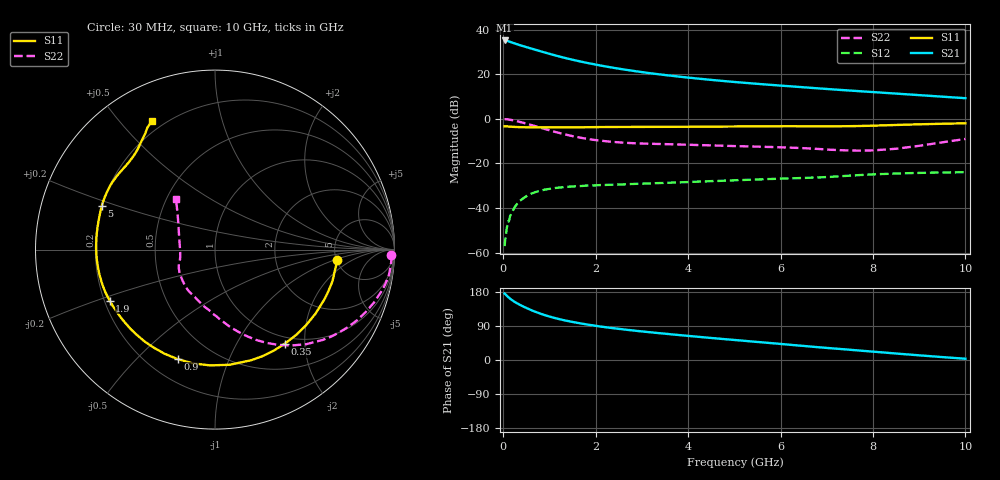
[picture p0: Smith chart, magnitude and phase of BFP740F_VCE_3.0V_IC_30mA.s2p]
! Infineon Technologies  Discrete & RF Semiconductors
! BFP740F
! VCE =  3.0 V,  IC =  30 mA
! Common Emitter S-Parameters:  Oct 2012
# GHz  S  MA  R  50
!  f  S11  S21  S12  S22
! GHz  MAG  ANG  MAG  ANG  MAG  ANG  MAG  ANG
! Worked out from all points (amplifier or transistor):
!   99 points, 30 MHz to 10 GHz, reference 50 ohm
!   highest |S21| = 35.2 dB at 30 MHz (marker M1)
!   |S21| within 3 dB of that: start of sweep to 504.2 MHz
!   unconditionally stable (mu >= 1): 5.337 GHz to end of sweep
!   at 350 MHz: K = 0.19, MSG = 35.0 dB, |S12| = -37.0 dB
!   at 3.5 GHz: K = 0.78, MSG = 24.2 dB, |S12| = -28.7 dB
!   at 10 GHz: K = 1.17, MAG = 14.1 dB, |S12| = -23.9 dB
!   S11 on the Smith chart (normalised r, x): 30 MHz: 5.01, -1.11; 350 MHz: 0.88, -1.62; 900 MHz: 0.32, -0.67; 1.9 GHz: 0.22, -0.22; 5 GHz: 0.20, +0.18; 10 GHz: 0.16, +0.61
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0.03  0.6809 -5.0  57.3 175.4  0.0014 92.2  0.9809 -1.9
0.07  0.6773 -11.9  56.63 170.5  0.0032 74.2  0.9811 -6.5
0.1  0.6757 -16.8  55.49 166.9  0.0042 82.9  0.9755 -9.6
0.15  0.6689 -24.9  53.27 161.7  0.0067 76.2  0.9549 -14.3
0.2  0.664 -32.5  51.03 157.2  0.0084 75.3  0.9323 -18.6
0.25  0.6595 -39.8  49.05 153.2  0.0106 72.8  0.9082 -22.6
0.35  0.6528 -53.5  45.32 146.3  0.0142 66.5  0.859 -30.0
0.45  0.65 -66.0  42.19 140.2  0.017 61.1  0.8096 -36.7
0.6  0.6468 -82.8  37.95 131.9  0.0209 54.2  0.7326 -46.0
0.7  0.6457 -92.4  35.34 127.0  0.0229 50.7  0.6837 -51.4
0.9  0.6446 -108.9  30.77 118.4  0.0259 44.6  0.5937 -61.1
1.1  0.6441 -122.0  26.93 111.3  0.028 39.8  0.5182 -69.3
1.3  0.6446 -132.5  23.76 105.4  0.0294 36.3  0.4577 -76.4
1.7  0.648 -148.2  19.04 96.0  0.0313 32.3  0.3733 -88.5
1.9  0.6516 -154.2  17.27 92.1  0.032 31.0  0.3451 -94.2
2.6  0.6589 -169.6  12.85 80.8  0.034 28.6  0.2932 -110.5
3.4  0.6626 178.2  9.902 70.5  0.0364 28.4  0.2733 -122.5
5  0.6756 159.1  6.723 52.9  0.042 29.0  0.2456 -138.9
5.1  0.677 158.1  6.588 51.8  0.0424 29.0  0.2442 -140.1
6.7  0.6825 141.4  4.93 35.0  0.0481 29.2  0.2151 -158.7
8.5  0.7301 124.1  3.689 17.1  0.0596 25.4  0.2138 159.4
10  0.7966 116.3  2.909 3.3  0.0638 19.7  0.3545 127.8
